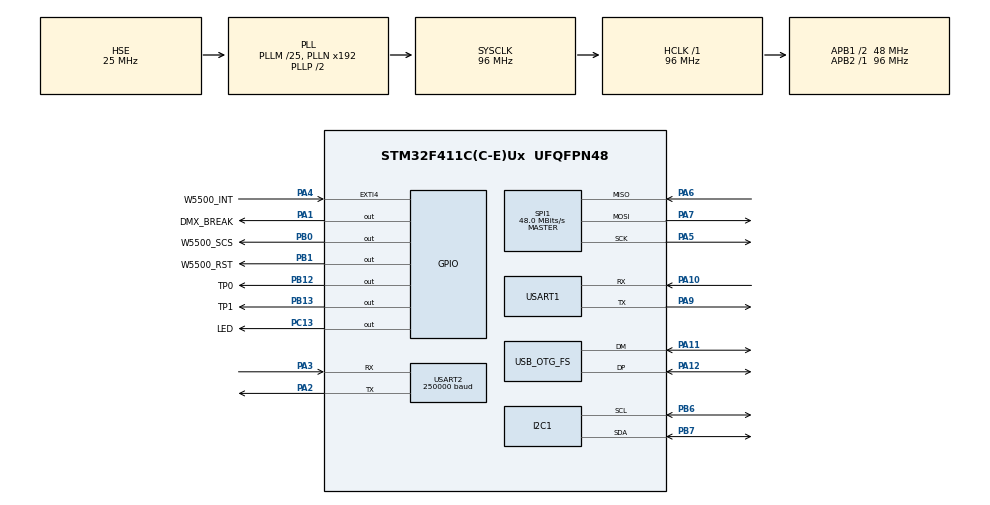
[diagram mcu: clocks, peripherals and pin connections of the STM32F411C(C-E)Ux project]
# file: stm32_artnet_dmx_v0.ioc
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Dma.I2C1_TX.5.Direction=DMA_MEMORY_TO_PERIPH
Dma.I2C1_TX.5.FIFOMode=DMA_FIFOMODE_DISABLE
Dma.I2C1_TX.5.Instance=DMA1_Stream1
Dma.I2C1_TX.5.MemDataAlignment=DMA_MDATAALIGN_BYTE
Dma.I2C1_TX.5.MemInc=DMA_MINC_ENABLE
Dma.I2C1_TX.5.Mode=DMA_NORMAL
Dma.I2C1_TX.5.PeriphDataAlignment=DMA_PDATAALIGN_BYTE
Dma.I2C1_TX.5.PeriphInc=DMA_PINC_DISABLE
Dma.I2C1_TX.5.Priority=DMA_PRIORITY_LOW
Dma.MEMTOMEM.6.Direction=DMA_MEMORY_TO_MEMORY
Dma.MEMTOMEM.6.FIFOMode=DMA_FIFOMODE_ENABLE
Dma.MEMTOMEM.6.FIFOThreshold=DMA_FIFO_THRESHOLD_FULL
Dma.MEMTOMEM.6.Instance=DMA2_Stream1
Dma.MEMTOMEM.6.MemBurst=DMA_MBURST_SINGLE
Dma.MEMTOMEM.6.MemDataAlignment=DMA_MDATAALIGN_BYTE
Dma.MEMTOMEM.6.MemInc=DMA_MINC_ENABLE
Dma.MEMTOMEM.6.Mode=DMA_NORMAL
Dma.MEMTOMEM.6.PeriphBurst=DMA_PBURST_SINGLE
Dma.MEMTOMEM.6.PeriphDataAlignment=DMA_PDATAALIGN_BYTE
Dma.MEMTOMEM.6.PeriphInc=DMA_PINC_ENABLE
Dma.MEMTOMEM.6.Priority=DMA_PRIORITY_LOW
Dma.Request0=SPI1_RX
Dma.Request1=SPI1_TX
Dma.Request2=USART2_RX
Dma.Request3=USART2_TX
Dma.Request4=TIM1_UP
Dma.Request5=I2C1_TX
Dma.Request6=MEMTOMEM
Dma.SPI1_RX.0.Direction=DMA_PERIPH_TO_MEMORY
Dma.SPI1_RX.0.FIFOMode=DMA_FIFOMODE_DISABLE
Dma.SPI1_RX.0.Instance=DMA2_Stream0
Dma.SPI1_RX.0.MemDataAlignment=DMA_MDATAALIGN_BYTE
Dma.SPI1_RX.0.MemInc=DMA_MINC_ENABLE
Dma.SPI1_RX.0.Mode=DMA_NORMAL
Dma.SPI1_RX.0.PeriphDataAlignment=DMA_PDATAALIGN_BYTE
Dma.SPI1_RX.0.PeriphInc=DMA_PINC_DISABLE
Dma.SPI1_RX.0.Priority=DMA_PRIORITY_LOW
Dma.SPI1_TX.1.Direction=DMA_MEMORY_TO_PERIPH
Dma.SPI1_TX.1.FIFOMode=DMA_FIFOMODE_DISABLE
Dma.SPI1_TX.1.Instance=DMA2_Stream2
Dma.SPI1_TX.1.MemDataAlignment=DMA_MDATAALIGN_BYTE
Dma.SPI1_TX.1.MemInc=DMA_MINC_ENABLE
Dma.SPI1_TX.1.Mode=DMA_NORMAL
Dma.SPI1_TX.1.PeriphDataAlignment=DMA_PDATAALIGN_BYTE
Dma.SPI1_TX.1.PeriphInc=DMA_PINC_DISABLE
Dma.SPI1_TX.1.Priority=DMA_PRIORITY_LOW
Dma.TIM1_UP.4.Direction=DMA_MEMORY_TO_PERIPH
Dma.TIM1_UP.4.FIFOMode=DMA_FIFOMODE_ENABLE
Dma.TIM1_UP.4.FIFOThreshold=DMA_FIFO_THRESHOLD_FULL
Dma.TIM1_UP.4.Instance=DMA2_Stream5
Dma.TIM1_UP.4.MemBurst=DMA_MBURST_SINGLE
Dma.TIM1_UP.4.MemDataAlignment=DMA_MDATAALIGN_WORD
Dma.TIM1_UP.4.MemInc=DMA_MINC_ENABLE
Dma.TIM1_UP.4.Mode=DMA_NORMAL
Dma.TIM1_UP.4.PeriphBurst=DMA_PBURST_SINGLE
Dma.TIM1_UP.4.PeriphDataAlignment=DMA_PDATAALIGN_WORD
Dma.TIM1_UP.4.PeriphInc=DMA_PINC_DISABLE
Dma.TIM1_UP.4.Priority=DMA_PRIORITY_VERY_HIGH
Dma.USART2_RX.2.Direction=DMA_PERIPH_TO_MEMORY
Dma.USART2_RX.2.FIFOMode=DMA_FIFOMODE_DISABLE
Dma.USART2_RX.2.Instance=DMA1_Stream5
Dma.USART2_RX.2.MemDataAlignment=DMA_MDATAALIGN_BYTE
Dma.USART2_RX.2.MemInc=DMA_MINC_ENABLE
Dma.USART2_RX.2.Mode=DMA_NORMAL
Dma.USART2_RX.2.PeriphDataAlignment=DMA_PDATAALIGN_BYTE
Dma.USART2_RX.2.PeriphInc=DMA_PINC_DISABLE
Dma.USART2_RX.2.Priority=DMA_PRIORITY_LOW
Dma.USART2_TX.3.Direction=DMA_MEMORY_TO_PERIPH
Dma.USART2_TX.3.FIFOMode=DMA_FIFOMODE_DISABLE
Dma.USART2_TX.3.Instance=DMA1_Stream6
Dma.USART2_TX.3.MemDataAlignment=DMA_MDATAALIGN_BYTE
Dma.USART2_TX.3.MemInc=DMA_MINC_ENABLE
Dma.USART2_TX.3.Mode=DMA_NORMAL
Dma.USART2_TX.3.PeriphDataAlignment=DMA_PDATAALIGN_BYTE
Dma.USART2_TX.3.PeriphInc=DMA_PINC_DISABLE
Dma.USART2_TX.3.Priority=DMA_PRIORITY_LOW
Mcu.Family=STM32F4
Mcu.Name=STM32F411C(C-E)Ux
Mcu.Package=UFQFPN48
NVIC.DMA1_Stream1_IRQn=true\:0\:0\:false\:false\:true\:false\:true\:true
NVIC.DMA1_Stream5_IRQn=true\:0\:0\:false\:false\:true\:false\:true\:true
NVIC.DMA1_Stream6_IRQn=true\:0\:0\:false\:false\:true\:false\:true\:true
NVIC.DMA2_Stream0_IRQn=true\:0\:0\:false\:false\:true\:false\:true\:true
NVIC.DMA2_Stream1_IRQn=true\:0\:0\:false\:false\:true\:true\:true\:true
NVIC.DMA2_Stream2_IRQn=true\:0\:0\:false\:false\:true\:false\:true\:true
NVIC.DMA2_Stream5_IRQn=true\:0\:0\:false\:false\:true\:false\:true\:true
NVIC.I2C1_ER_IRQn=true\:0\:0\:false\:false\:true\:true\:true\:true
NVIC.I2C1_EV_IRQn=true\:0\:0\:false\:false\:true\:true\:true\:true
NVIC.OTG_FS_IRQn=true\:0\:0\:false\:false\:true\:true\:true\:true
NVIC.PriorityGroup=NVIC_PRIORITYGROUP_4
NVIC.TIM3_IRQn=true\:0\:0\:false\:false\:true\:true\:true\:true
NVIC.USART2_IRQn=true\:0\:0\:false\:false\:true\:true\:true\:true
PA1.GPIO_Label=DMX_BREAK
PA1.GPIO_ModeDefaultOutputPP=GPIO_MODE_OUTPUT_OD
PA1.GPIO_PuPd=GPIO_NOPULL
PA1.GPIO_Speed=GPIO_SPEED_FREQ_VERY_HIGH
PA1.PinState=GPIO_PIN_SET
PA1.Signal=GPIO_Output
PA10.Mode=Asynchronous
PA10.Signal=USART1_RX
PA11.Mode=Device_Only
PA11.Signal=USB_OTG_FS_DM
PA12.Mode=Device_Only
PA12.Signal=USB_OTG_FS_DP
PA13.Mode=Serial_Wire
PA13.Signal=SYS_JTMS-SWDIO
PA14.Mode=Serial_Wire
PA14.Signal=SYS_JTCK-SWCLK
PA2.GPIO_ModeDefaultPP=GPIO_MODE_AF_OD
PA2.Mode=Asynchronous
PA2.Signal=USART2_TX
PA3.Mode=Asynchronous
PA3.Signal=USART2_RX
PA4.GPIO_Label=W5500_INT
PA4.GPIO_PuPd=GPIO_PULLUP
PA4.Signal=GPXTI4
PA5.Mode=Full_Duplex_Master
PA5.Signal=SPI1_SCK
PA6.Mode=Full_Duplex_Master
PA6.Signal=SPI1_MISO
PA7.Mode=Full_Duplex_Master
PA7.Signal=SPI1_MOSI
PA9.Mode=Asynchronous
PA9.Signal=USART1_TX
PB0.GPIO_Label=W5500_SCS
PB0.GPIO_Speed=GPIO_SPEED_FREQ_VERY_HIGH
PB0.PinState=GPIO_PIN_SET
PB0.Signal=GPIO_Output
PB1.GPIO_Label=W5500_RST
PB1.GPIO_Speed=GPIO_SPEED_FREQ_VERY_HIGH
PB1.Signal=GPIO_Output
PB12.GPIO_Label=TP0
PB12.GPIO_Speed=GPIO_SPEED_FREQ_VERY_HIGH
PB12.Signal=GPIO_Output
PB13.GPIO_Label=TP1
PB13.GPIO_Speed=GPIO_SPEED_FREQ_VERY_HIGH
PB13.Signal=GPIO_Output
PB6.Mode=I2C
PB6.Signal=I2C1_SCL
PB7.Mode=I2C
PB7.Signal=I2C1_SDA
PC13-ANTI_TAMP.GPIO_Label=LED
PC13-ANTI_TAMP.GPIO_ModeDefaultOutputPP=GPIO_MODE_OUTPUT_OD
PC13-ANTI_TAMP.GPIO_PuPd=GPIO_NOPULL
PC13-ANTI_TAMP.PinState=GPIO_PIN_SET
PC13-ANTI_TAMP.Signal=GPIO_Output
PC14-OSC32_IN.Mode=LSE-External-Oscillator
PC14-OSC32_IN.Signal=RCC_OSC32_IN
PC15-OSC32_OUT.Mode=LSE-External-Oscillator
PC15-OSC32_OUT.Signal=RCC_OSC32_OUT
PH0\ -\ OSC_IN.Mode=HSE-External-Oscillator
PH0\ -\ OSC_IN.Signal=RCC_OSC_IN
PH1\ -\ OSC_OUT.Mode=HSE-External-Oscillator
PH1\ -\ OSC_OUT.Signal=RCC_OSC_OUT
ProjectManager.HeapSize=0x200
ProjectManager.StackSize=0x400
ProjectManager.TargetToolchain=STM32CubeIDE
RCC.48MHZClocksFreq_Value=48000000
RCC.AHBFreq_Value=96000000
RCC.APB1CLKDivider=RCC_HCLK_DIV2
RCC.APB1Freq_Value=48000000
RCC.APB1TimFreq_Value=96000000
RCC.APB2Freq_Value=96000000
RCC.APB2TimFreq_Value=96000000
RCC.CortexFreq_Value=96000000
RCC.HCLKFreq_Value=96000000
RCC.HSE_VALUE=25000000
RCC.HSI_VALUE=16000000
RCC.PLLM=25
RCC.SYSCLKFreq_VALUE=96000000
RCC.SYSCLKSource=RCC_SYSCLKSOURCE_PLLCLK
RCC.VCOOutputFreq_Value=192000000
SPI1.CalculateBaudRate=48.0 MBits/s
SPI1.Direction=SPI_DIRECTION_2LINES
SPI1.Mode=SPI_MODE_MASTER
SPI1.VirtualType=VM_MASTER
TIM1.Period=DMX_BREAK_TIMER_PERIOD
TIM1.Prescaler=DMX_BREAK_TIMER_PRESCALER
TIM3.Period=SERVICE_TIMER_PERIOD
TIM3.Prescaler=SERVICE_TIMER_PRESCALER
USART1.VirtualMode=VM_ASYNC
USART2.BaudRate=250000
USART2.StopBits=STOPBITS_2
USART2.VirtualMode=VM_ASYNC
USB_DEVICE.CLASS_NAME_FS=CDC
USB_DEVICE.VirtualMode=Cdc
USB_DEVICE.VirtualModeFS=Cdc_FS
USB_OTG_FS.VirtualMode=Device_Only
VP_TIM1_VS_ClockSourceINT.Mode=Internal
VP_TIM3_VS_ClockSourceINT.Mode=Internal
VP_USB_DEVICE_VS_USB_DEVICE_CDC_FS.Mode=CDC_FS
board=custom

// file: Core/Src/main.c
/* USER CODE BEGIN Header */
/**
  ******************************************************************************
  * @file           : main.c
  * @brief          : Main program body
  ******************************************************************************
  * @attention
  *
  * Copyright (c) 2025 STMicroelectronics.
  * All rights reserved.
  *
  * This software is licensed under terms that can be found in the LICENSE file
  * in the root directory of this software component.
  * If no LICENSE file comes with this software, it is provided AS-IS.
  *
  ******************************************************************************
  */
/* USER CODE END Header */
#include "main.h"
#include "dma.h"
#include "i2c.h"
#include "spi.h"
#include "tim.h"
#include "usart.h"
#include "usb_device.h"
#include "gpio.h"

/* USER CODE BEGIN Includes */
#include "W5500.h"
#include "settings.h"
#include "artnet.h"
#include "usbd_cdc_if.h"
#include "cli.h"
#include "dmx_encoder.h"
#include "SSD1306.h"
#include "08UKRSTD.h"
#include "TextScreen.h"
/* USER CODE END Includes */

/* USER CODE BEGIN PV */
SSD1306_DEF(oled1, hi2c1, SSD1306_I2C_ADDR, 64, 0);

static TextScreen_t screen;
/* USER CODE END PV */

void SystemClock_Config(void);

/* USER CODE BEGIN 0 */
//#define MEMCPY_PERF_TEST
#ifdef MEMCPY_PERF_TEST
static uint8_t test1[1024], test2[1024];
#endif

#define TIMER_A_DIV(DIV) if(!(timerA_cnt % DIV))
#define TIMER_A_DIV_BLINK_FAST 50
#define TIMER_A_DIV_BLINK_MED1 250
#define TIMER_A_DIV_BLINK_SLOW 500
volatile uint32_t timerA_cnt = 0;
volatile uint32_t cnts[2] = {0, 0};
static void timerA_cb(TIM_HandleTypeDef *htim)
{
//	unsigned int now = HAL_GetTick();

	timerA_cnt++;

	TIMER_A_DIV(TIMER_A_DIV_BLINK_FAST)
		HAL_GPIO_TogglePin(LED_GPIO_Port, LED_Pin);

	TIMER_A_DIV(TIMER_A_DIV_BLINK_MED1)
	{
		cnts[0] = artnet_OpPollReply_cnt;
		cnts[1] = artnet_OpDmx_cnt;
		SSD1306_refresh(&oled1);
	};
};

static void TextScreenToOled(TextScreen_t* screen, SSD1306_ctx_t* oled, int f_wait_oled, int f_skip_non_dirty)
{
	int i, j, screen_dirty = screen->dirty;

	if(!screen_dirty)
		return;

	// wait for finished transfer
	if(f_wait_oled)
	{
		while(oled->dirty || oled->busy);
	}
	else
	{
		if(oled->dirty || oled->busy)
			return;
	}

	// we assume we have 8x8 bitmap font
	for(j = 0; j < oled->pages && j < screen->rows; j++)
	{
		int wait = 1 << j;
		uint32_t* fb = (uint32_t*)(oled->fb[j] + SSD1306_DATA_OFFSET);

		if(f_skip_non_dirty && (!(wait & screen_dirty)))
			continue;

		// row process
		for(i = 0; i < screen->cols && i < SSD1306_WIDTH / 8; i++)
		{
			uint32_t *fnt, inv;
			uint16_t ch = screen->fb[j][i];

			if(screen->blink && (ch & (TEXT_SCREEN_ATTR_BLINK << 8)))
				ch = (ch & 0xFF00) | ' ';

			inv = (ch & (TEXT_SCREEN_ATTR_INVERT << 8)) ? 0xFFFFFFFF : 0x00000000;
			fnt = (uint32_t*)(font_08ukrstd + (ch & 0x00FF) * font_08ukrstd_width);

			// eight bytes width is two 32-bit transactions
			*fb = fnt[0] ^ inv; fb++;
			*fb = fnt[1] ^ inv; fb++;
		}

		// mark row as dirty
		oled->dirty |= wait;
	}

	if(screen_dirty == screen->dirty)
		screen->dirty = 0;
};

static void init_screen()
{
	char tmp_buf[32];
#if 0
	TextScreen_put_at(&screen, 0, 0, "                ", TEXT_SCREEN_ATTR_INVERT);
	TextScreen_put_at(&screen, 1, 0, "                ", TEXT_SCREEN_ATTR_INVERT);
	TextScreen_put_at(&screen, 2, 0, "                ", TEXT_SCREEN_ATTR_INVERT);
	TextScreen_put_at(&screen, 3, 0, "                ", TEXT_SCREEN_ATTR_INVERT);
	TextScreen_put_at(&screen, 4, 0, "                ", TEXT_SCREEN_ATTR_INVERT);
	TextScreen_put_at(&screen, 5, 0, "                ", TEXT_SCREEN_ATTR_INVERT);
	TextScreen_put_at(&screen, 6, 0, "                ", TEXT_SCREEN_ATTR_INVERT);
	TextScreen_put_at(&screen, 7, 0, "                ", TEXT_SCREEN_ATTR_INVERT);
	TextScreenToOled(&screen, &oled1, 1, 0);
	return;
#endif
	// line #0
	TextScreen_put_at(&screen, 0, 0, (char*)PortName, 0);

	// line #1
	snprintf(tmp_buf, sizeof(tmp_buf), "v%d.%d",
	    settings_current->VersInfoH, settings_current->VersInfoL);
	TextScreen_put_at(&screen, 1, 0, tmp_buf, 0);

	// line #2
	snprintf(tmp_buf, sizeof(tmp_buf), "O: %.2X%.2X  E: %.2X%.2X",
	    settings_current->OemHi, settings_current->OemHi,
		settings_current->EstaManHi, settings_current->EstaManLo);
	TextScreen_put_at(&screen, 2, 0, tmp_buf, 0);

	// line #3
	snprintf(tmp_buf, sizeof(tmp_buf), "%.2X%.2X:%.2X:%.2X:%.2X:%.2X",
	    settings_current->mac_address[0], settings_current->mac_address[1],
		settings_current->mac_address[2], settings_current->mac_address[3],
		settings_current->mac_address[4], settings_current->mac_address[5]);
	TextScreen_put_at(&screen, 3, 0, tmp_buf, 0);

	// line #4
	snprintf(tmp_buf, sizeof(tmp_buf), "%d.%d.%d.%d",
	    settings_current->ip_address[0], settings_current->ip_address[1],
		settings_current->ip_address[2], settings_current->ip_address[3]);
	TextScreen_put_at(&screen, 4, 0, tmp_buf, 0);

	// line #5
	snprintf(tmp_buf, sizeof(tmp_buf), "%d.%d.%d.%d",
	    settings_current->ip_mask[0], settings_current->ip_mask[1],
		settings_current->ip_mask[2], settings_current->ip_mask[3]);
	TextScreen_put_at(&screen, 5, 0, tmp_buf, 0);

	// line #6
	snprintf(tmp_buf, sizeof(tmp_buf), "Univ: %.4X (%d)",
		(unsigned int)settings_current->PortAddress,
		(unsigned int)settings_current->PortAddress);
	TextScreen_put_at(&screen, 6, 0, tmp_buf, 0);

	TextScreenToOled(&screen, &oled1, 1, 0);
}

static void artnet_OpDmx_cp_done(DMA_HandleTypeDef* hdma)
{
	uint8_t *tmp;

	// swap output buffers
	tmp = dmx_encoder_buffer_bak;
	dmx_encoder_buffer_bak = dmx_encoder_buffer;
	dmx_encoder_buffer = tmp;

	HAL_GPIO_TogglePin(TP1_GPIO_Port, TP1_Pin);
};

static void artnet_OpDmx_cp_error(DMA_HandleTypeDef* hdma)
{
	return;
};

static int artnet_OpDmx_proc(int idx, int len, uint8_t *buf)
{
	// we have only one DMX output
	if(idx)
		return 0;

	// start transfer
	HAL_DMA_Start_IT(&hdma_memtomem_dma2_stream1, (uint32_t)buf, (uint32_t)(dmx_encoder_buffer_bak + 1), len);

	// use another buffer for next UDP packet
	return 1;
};

/* USER CODE END 0 */

int main(void)
{

  /* MCU Configuration--------------------------------------------------------*/

  /* Reset of all peripherals, Initializes the Flash interface and the Systick. */
  HAL_Init();

  /* USER CODE BEGIN Init */
  artnet_OpDmx_cb = artnet_OpDmx_proc;
  cli_init();
  /* USER CODE END Init */

  /* Configure the system clock */
  SystemClock_Config();

  /* Initialize all configured peripherals */
  MX_GPIO_Init();
  MX_DMA_Init();
  MX_SPI1_Init();
  MX_I2C1_Init();
  MX_USART1_UART_Init();
  MX_USART2_UART_Init();
  MX_USB_DEVICE_Init();
  MX_TIM1_Init();
  MX_TIM3_Init();
  /* USER CODE BEGIN 2 */
  settings_init();

  // DMA for DMX packet copy
  HAL_DMA_RegisterCallback(&hdma_memtomem_dma2_stream1, HAL_DMA_XFER_CPLT_CB_ID, artnet_OpDmx_cp_done);
  HAL_DMA_RegisterCallback(&hdma_memtomem_dma2_stream1, HAL_DMA_XFER_ERROR_CB_ID, artnet_OpDmx_cp_error);

  // network packet, udp server
  W5500_init(&hspi1);

  // DMX512: break+513bytes loop
  dmx_encoder_init(&DMX_BREAK_TIMER_VAR, DMX_BREAK_GPIO_Port, DMX_BREAK_Pin, DMX_BREAK_FREQ_SCALE, &huart2);

  // start generic timer
  HAL_TIM_RegisterCallback(&SERVICE_TIMER_VAR, HAL_TIM_PERIOD_ELAPSED_CB_ID, timerA_cb);
  HAL_TIM_Base_Start_IT(&SERVICE_TIMER_VAR);

  // setup and init oled display
  TextScreen_init(&screen, 8, 16);
  TextScreen_cls(&screen);
  SSD1306_setup(&oled1);
  init_screen();
  /* USER CODE END 2 */

  /* Infinite loop */
  /* USER CODE BEGIN WHILE */
  while (1)
  {
#ifdef MEMCPY_PERF_TEST
	memcpy(test1 + 0, test2 + 0, 512); // 32 uS
#else
	W5500_idle(); // 20uS (Debug), 14uS (Release)

	cli_idle();

	if(cnts[0] || cnts[1])
	{
		char buf[16];

		if(cnts[0])
		{
			snprintf(buf, sizeof(buf), "%6lu  ", cnts[0]);
			cnts[0] = 0;
			TextScreen_put_at(&screen, 7, 0, buf, TEXT_SCREEN_ATTR_INVERT);
		};

		if(cnts[1])
		{
			snprintf(buf, sizeof(buf), "  %6lu", cnts[1]);
			cnts[1] = 0;
			TextScreen_put_at(&screen, 7, 8, buf, TEXT_SCREEN_ATTR_INVERT);
		}
	}
	TextScreenToOled(&screen, &oled1, 0, 1);
#endif
	HAL_GPIO_TogglePin(TP0_GPIO_Port, TP0_Pin);
    /* USER CODE END WHILE */

  }
}

void SystemClock_Config(void)
{
  RCC_OscInitTypeDef RCC_OscInitStruct = {0};
  RCC_ClkInitTypeDef RCC_ClkInitStruct = {0};

  /** Configure the main internal regulator output voltage
  */
  __HAL_RCC_PWR_CLK_ENABLE();
  __HAL_PWR_VOLTAGESCALING_CONFIG(PWR_REGULATOR_VOLTAGE_SCALE1);

  /** Initializes the RCC Oscillators according to the specified parameters
  * in the RCC_OscInitTypeDef structure.
  */
  RCC_OscInitStruct.OscillatorType = RCC_OSCILLATORTYPE_HSE;
  RCC_OscInitStruct.HSEState = RCC_HSE_ON;
  RCC_OscInitStruct.PLL.PLLState = RCC_PLL_ON;
  RCC_OscInitStruct.PLL.PLLSource = RCC_PLLSOURCE_HSE;
  RCC_OscInitStruct.PLL.PLLM = 25;
  RCC_OscInitStruct.PLL.PLLN = 192;
  RCC_OscInitStruct.PLL.PLLP = RCC_PLLP_DIV2;
  RCC_OscInitStruct.PLL.PLLQ = 4;
  if (HAL_RCC_OscConfig(&RCC_OscInitStruct) != HAL_OK)
  {
    Error_Handler();
  }

  /** Initializes the CPU, AHB and APB buses clocks
  */
  RCC_ClkInitStruct.ClockType = RCC_CLOCKTYPE_HCLK|RCC_CLOCKTYPE_SYSCLK
                              |RCC_CLOCKTYPE_PCLK1|RCC_CLOCKTYPE_PCLK2;
  RCC_ClkInitStruct.SYSCLKSource = RCC_SYSCLKSOURCE_PLLCLK;
  RCC_ClkInitStruct.AHBCLKDivider = RCC_SYSCLK_DIV1;
  RCC_ClkInitStruct.APB1CLKDivider = RCC_HCLK_DIV2;
  RCC_ClkInitStruct.APB2CLKDivider = RCC_HCLK_DIV1;

  if (HAL_RCC_ClockConfig(&RCC_ClkInitStruct, FLASH_LATENCY_3) != HAL_OK)
  {
    Error_Handler();
  }
}

void Error_Handler(void)
{
  __disable_irq();
  while (1)
  {
  }
}
